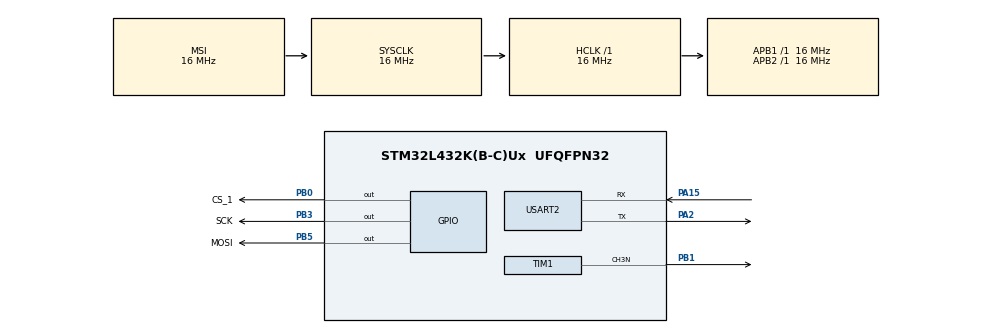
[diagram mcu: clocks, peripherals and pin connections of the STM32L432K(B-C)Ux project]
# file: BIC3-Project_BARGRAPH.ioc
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Mcu.Family=STM32L4
Mcu.Name=STM32L432K(B-C)Ux
Mcu.Package=UFQFPN32
NVIC.PriorityGroup=NVIC_PRIORITYGROUP_4
NVIC.USART2_IRQn=true\:0\:0\:false\:false\:true\:true\:true
PA15\ (JTDI).Mode=Asynchronous
PA15\ (JTDI).Signal=USART2_RX
PA2.Mode=Asynchronous
PA2.Signal=USART2_TX
PB0.GPIO_Label=CS_1
PB0.Signal=GPIO_Output
PB1.Mode=PWM Generation3 CH3N
PB1.Signal=TIM1_CH3N
PB3\ (JTDO-TRACESWO).GPIO_Label=SCK
PB3\ (JTDO-TRACESWO).Signal=GPIO_Output
PB5.GPIO_Label=MOSI
PB5.Signal=GPIO_Output
ProjectManager.HeapSize=0x200
ProjectManager.StackSize=0x400
ProjectManager.TargetToolchain=STM32CubeIDE
RCC.ADCFreq_Value=64000000
RCC.AHBFreq_Value=16000000
RCC.APB1Freq_Value=16000000
RCC.APB1TimFreq_Value=16000000
RCC.APB2Freq_Value=16000000
RCC.APB2TimFreq_Value=16000000
RCC.CortexFreq_Value=16000000
RCC.HCLKFreq_Value=16000000
RCC.HSE_VALUE=8000000
RCC.HSI48_VALUE=48000000
RCC.HSI_VALUE=16000000
RCC.LSE_VALUE=32768
RCC.MSIClockRange=RCC_MSIRANGE_8
RCC.MSI_VALUE=16000000
RCC.SYSCLKFreq_VALUE=16000000
RCC.USBFreq_Value=64000000
RCC.VCOOutputFreq_Value=128000000
TIM1.Channel-PWM\ Generation3\ CH3N=TIM_CHANNEL_3
TIM1.OCNPolarity_3=TIM_OCNPOLARITY_LOW
TIM1.Period=40000-1
TIM1.Prescaler=4-1
TIM1.Pulse-PWM\ Generation3\ CH3N=40000
TIM6.Prescaler=16-1
USART2.VirtualMode-Asynchronous=VM_ASYNC
VP_TIM6_VS_ClockSourceINT.Mode=Enable_Timer
board=custom

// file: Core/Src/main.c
/* USER CODE BEGIN Header */
/**
  ******************************************************************************
  * @file           : main.c
  * @brief          : Main program body
  ******************************************************************************
  * @attention
  *
  * <h2><center>&copy; Copyright (c) 2022 STMicroelectronics.
  * All rights reserved.</center></h2>
  *
  * This software component is licensed by ST under BSD 3-Clause license,
  * the "License"; You may not use this file except in compliance with the
  * License. You may obtain a copy of the License at:
  *                        opensource.org/licenses/BSD-3-Clause
  *
  ******************************************************************************
  */
/* USER CODE END Header */
#include "main.h"

/* USER CODE BEGIN Includes */
#include "mylibrary.h"
/* USER CODE END Includes */

/* USER CODE BEGIN PD */

//#define BRIGHTNESSTEST

#define RxBuffer_SIZE 1
/* USER CODE END PD */

TIM_HandleTypeDef htim1;
TIM_HandleTypeDef htim6;

UART_HandleTypeDef huart2;

/* USER CODE BEGIN PV */
MY_BARGRAPH_HandleTypeDef hbar1;

SERIALPROTOCOL_TypeDef hserialprot;

uint16_t last_volume=0;
uint16_t mute_volume=8;
uint16_t bargraph_volume=20;
uint8_t seperate = 0;
uint8_t bargraph_brightness=100;

// Deklarieren und initialisieren des Ein-Zeichen-Empfangsbuffers
uint8_t RxBuffer[RxBuffer_SIZE]={0};

/* USER CODE END PV */

void SystemClock_Config(void);
static void MX_GPIO_Init(void);
static void MX_TIM1_Init(void);
static void MX_USART2_UART_Init(void);
static void MX_TIM6_Init(void);

int main(void)
{

  /* MCU Configuration--------------------------------------------------------*/

  /* Reset of all peripherals, Initializes the Flash interface and the Systick. */
  HAL_Init();

  /* Configure the system clock */
  SystemClock_Config();

  /* Initialize all configured peripherals */
  MX_GPIO_Init();
  MX_TIM1_Init();
  MX_USART2_UART_Init();
  MX_TIM6_Init();
  /* USER CODE BEGIN 2 */
  HAL_UART_Receive_IT(&huart2, RxBuffer, RxBuffer_SIZE);

#ifndef BRIGHTNESSTEST
  MY_BARGRAPH_Init_Pulsed(&hbar1,&htim1,TIM_CHANNEL_3,MOSI_GPIO_Port, MOSI_Pin, SCK_GPIO_Port, SCK_Pin, CS_1_GPIO_Port, CS_1_Pin);
#endif
#ifdef BRIGHTNESSTEST
  MY_BARGRAPH_Init_Strobed(&hbar1,&htim6,MOSI_GPIO_Port, MOSI_Pin, SCK_GPIO_Port, SCK_Pin, CS_1_GPIO_Port, CS_1_Pin);

  uint16_t bargraph_bits=0b1100111111;
  uint8_t bargraph_brightness_collection[10]={1,11,22,33,44,55,66,77,88,99};
#endif

  /* Segmente aufgrund der Lautstärke ändern */
    uint16_t calculate_bargraph_bitframe(uint8_t pos){
  	uint16_t bitframe=0;
      for (uint8_t i=0;i<pos/8;i++){
      	bitframe |=(1<<(i));
      }
      return bitframe;
    }

  /* USER CODE END 2 */

  /* Infinite loop */
  /* USER CODE BEGIN WHILE */
  while (1)
  {

#ifndef BRIGHTNESSTEST
	/* kalkulierte Segmente des Bargraphen Ein- bzw. Ausschalten und die Helligkeit einstellen */
	MY_BARGRAPH_SET_BITS(&hbar1, calculate_bargraph_bitframe(bargraph_volume), bargraph_brightness);
#endif

#ifdef BRIGHTNESSTEST
	MY_BARGRAPH_SET_BITS(&hbar1, bargraph_bits, bargraph_brightness_collection);
#endif

    /* USER CODE END WHILE */

  }
}

void SystemClock_Config(void)
{
  RCC_OscInitTypeDef RCC_OscInitStruct = {0};
  RCC_ClkInitTypeDef RCC_ClkInitStruct = {0};

  /** Configure the main internal regulator output voltage
  */
  if (HAL_PWREx_ControlVoltageScaling(PWR_REGULATOR_VOLTAGE_SCALE1) != HAL_OK)
  {
    Error_Handler();
  }
  /** Initializes the RCC Oscillators according to the specified parameters
  * in the RCC_OscInitTypeDef structure.
  */
  RCC_OscInitStruct.OscillatorType = RCC_OSCILLATORTYPE_MSI;
  RCC_OscInitStruct.MSIState = RCC_MSI_ON;
  RCC_OscInitStruct.MSICalibrationValue = 0;
  RCC_OscInitStruct.MSIClockRange = RCC_MSIRANGE_8;
  RCC_OscInitStruct.PLL.PLLState = RCC_PLL_NONE;
  if (HAL_RCC_OscConfig(&RCC_OscInitStruct) != HAL_OK)
  {
    Error_Handler();
  }
  /** Initializes the CPU, AHB and APB buses clocks
  */
  RCC_ClkInitStruct.ClockType = RCC_CLOCKTYPE_HCLK|RCC_CLOCKTYPE_SYSCLK
                              |RCC_CLOCKTYPE_PCLK1|RCC_CLOCKTYPE_PCLK2;
  RCC_ClkInitStruct.SYSCLKSource = RCC_SYSCLKSOURCE_MSI;
  RCC_ClkInitStruct.AHBCLKDivider = RCC_SYSCLK_DIV1;
  RCC_ClkInitStruct.APB1CLKDivider = RCC_HCLK_DIV1;
  RCC_ClkInitStruct.APB2CLKDivider = RCC_HCLK_DIV1;

  if (HAL_RCC_ClockConfig(&RCC_ClkInitStruct, FLASH_LATENCY_0) != HAL_OK)
  {
    Error_Handler();
  }
}

static void MX_TIM1_Init(void)
{

  TIM_MasterConfigTypeDef sMasterConfig = {0};
  TIM_OC_InitTypeDef sConfigOC = {0};
  TIM_BreakDeadTimeConfigTypeDef sBreakDeadTimeConfig = {0};

  htim1.Instance = TIM1;
  htim1.Init.Prescaler = 4-1;
  htim1.Init.CounterMode = TIM_COUNTERMODE_UP;
  htim1.Init.Period = 40000-1;
  htim1.Init.ClockDivision = TIM_CLOCKDIVISION_DIV1;
  htim1.Init.RepetitionCounter = 0;
  htim1.Init.AutoReloadPreload = TIM_AUTORELOAD_PRELOAD_DISABLE;
  if (HAL_TIM_PWM_Init(&htim1) != HAL_OK)
  {
    Error_Handler();
  }
  sMasterConfig.MasterOutputTrigger = TIM_TRGO_RESET;
  sMasterConfig.MasterOutputTrigger2 = TIM_TRGO2_RESET;
  sMasterConfig.MasterSlaveMode = TIM_MASTERSLAVEMODE_DISABLE;
  if (HAL_TIMEx_MasterConfigSynchronization(&htim1, &sMasterConfig) != HAL_OK)
  {
    Error_Handler();
  }
  sConfigOC.OCMode = TIM_OCMODE_PWM1;
  sConfigOC.Pulse = 40000;
  sConfigOC.OCPolarity = TIM_OCPOLARITY_HIGH;
  sConfigOC.OCNPolarity = TIM_OCNPOLARITY_LOW;
  sConfigOC.OCFastMode = TIM_OCFAST_DISABLE;
  sConfigOC.OCIdleState = TIM_OCIDLESTATE_RESET;
  sConfigOC.OCNIdleState = TIM_OCNIDLESTATE_RESET;
  if (HAL_TIM_PWM_ConfigChannel(&htim1, &sConfigOC, TIM_CHANNEL_3) != HAL_OK)
  {
    Error_Handler();
  }
  sBreakDeadTimeConfig.OffStateRunMode = TIM_OSSR_DISABLE;
  sBreakDeadTimeConfig.OffStateIDLEMode = TIM_OSSI_DISABLE;
  sBreakDeadTimeConfig.LockLevel = TIM_LOCKLEVEL_OFF;
  sBreakDeadTimeConfig.DeadTime = 0;
  sBreakDeadTimeConfig.BreakState = TIM_BREAK_DISABLE;
  sBreakDeadTimeConfig.BreakPolarity = TIM_BREAKPOLARITY_HIGH;
  sBreakDeadTimeConfig.BreakFilter = 0;
  sBreakDeadTimeConfig.Break2State = TIM_BREAK2_DISABLE;
  sBreakDeadTimeConfig.Break2Polarity = TIM_BREAK2POLARITY_HIGH;
  sBreakDeadTimeConfig.Break2Filter = 0;
  sBreakDeadTimeConfig.AutomaticOutput = TIM_AUTOMATICOUTPUT_DISABLE;
  if (HAL_TIMEx_ConfigBreakDeadTime(&htim1, &sBreakDeadTimeConfig) != HAL_OK)
  {
    Error_Handler();
  }
  HAL_TIM_MspPostInit(&htim1);

}

static void MX_TIM6_Init(void)
{

  TIM_MasterConfigTypeDef sMasterConfig = {0};

  htim6.Instance = TIM6;
  htim6.Init.Prescaler = 16-1;
  htim6.Init.CounterMode = TIM_COUNTERMODE_UP;
  htim6.Init.Period = 65535;
  htim6.Init.AutoReloadPreload = TIM_AUTORELOAD_PRELOAD_DISABLE;
  if (HAL_TIM_Base_Init(&htim6) != HAL_OK)
  {
    Error_Handler();
  }
  sMasterConfig.MasterOutputTrigger = TIM_TRGO_RESET;
  sMasterConfig.MasterSlaveMode = TIM_MASTERSLAVEMODE_DISABLE;
  if (HAL_TIMEx_MasterConfigSynchronization(&htim6, &sMasterConfig) != HAL_OK)
  {
    Error_Handler();
  }

}

static void MX_USART2_UART_Init(void)
{

  huart2.Instance = USART2;
  huart2.Init.BaudRate = 115200;
  huart2.Init.WordLength = UART_WORDLENGTH_8B;
  huart2.Init.StopBits = UART_STOPBITS_1;
  huart2.Init.Parity = UART_PARITY_NONE;
  huart2.Init.Mode = UART_MODE_TX_RX;
  huart2.Init.HwFlowCtl = UART_HWCONTROL_NONE;
  huart2.Init.OverSampling = UART_OVERSAMPLING_16;
  huart2.Init.OneBitSampling = UART_ONE_BIT_SAMPLE_DISABLE;
  huart2.AdvancedInit.AdvFeatureInit = UART_ADVFEATURE_NO_INIT;
  if (HAL_UART_Init(&huart2) != HAL_OK)
  {
    Error_Handler();
  }

}

static void MX_GPIO_Init(void)
{
  GPIO_InitTypeDef GPIO_InitStruct = {0};

  /* GPIO Ports Clock Enable */
  __HAL_RCC_GPIOA_CLK_ENABLE();
  __HAL_RCC_GPIOB_CLK_ENABLE();

  /*Configure GPIO pin Output Level */
  HAL_GPIO_WritePin(GPIOB, CS_1_Pin|SCK_Pin|MOSI_Pin, GPIO_PIN_RESET);

  /*Configure GPIO pins : CS_1_Pin SCK_Pin MOSI_Pin */
  GPIO_InitStruct.Pin = CS_1_Pin|SCK_Pin|MOSI_Pin;
  GPIO_InitStruct.Mode = GPIO_MODE_OUTPUT_PP;
  GPIO_InitStruct.Pull = GPIO_NOPULL;
  GPIO_InitStruct.Speed = GPIO_SPEED_FREQ_LOW;
  HAL_GPIO_Init(GPIOB, &GPIO_InitStruct);

}

/* USER CODE BEGIN 4 */

/* UART-Callback wird nach jedem Zeichen aufgerufen */
void HAL_UART_RxCpltCallback(UART_HandleTypeDef *huart)
{
	/* Nachrichtenbuffer für die Konsolen-Nachricht */
	uint8_t exchangedMessage[55] ={0};

	/*
	 * MYLIB_SERIALPROT_XCHANGE -> Verarbeitet die eingegebenen Zeichen des UART und gibt das demenstspechende Ergebnis/Nachricht zurück
	 * hserialprot -> Objekt des Seriellen Protokolls
	 * RxBuffer -> Ein-Zeichen-Empfangspuffer
	 * exchangedMessage -> zurückgegebene Nachricht aufgrund der Eingaben von Rx bzw. auf der Konsole
	 * Die Verarbeitung erfolgt in der MyLibrary/mylib_serialprot-Bibliothek
	 */
	MYLIB_SERIALPROT_XCHANGE(&hserialprot,RxBuffer,exchangedMessage);

	/* exchangedMessage an Putty/Konsole senden */
	if(HAL_UART_Transmit(&huart2, exchangedMessage,(uint16_t)strlen(exchangedMessage), 100)!= HAL_OK){Error_Handler();}

	/* UART_Receive Interrupt aktivieren */
	if(HAL_UART_Receive_IT(&huart2, RxBuffer, RxBuffer_SIZE)!= HAL_OK){Error_Handler();}
}

/* Callback für CBG-Commands (Bargraph-Get), welche der User selbst definieren kann */
uint16_t SERIALPROT_Command_CBG_Callback(SERIALPROTOCOL_TypeDef *hserialprot)
{
	/* Prüfen ob das Kommando "cbg" mit dem Parameter 1 "vol" eingegeben wurde und danach die Lautstärke zurückgeben */
	if(__SERIALPROT_IS_PARAMETER1(hserialprot,"vol")){
		return bargraph_volume;

	/* Prüfen ob das Kommando "cbg" mit dem Parameter 1 "bgn" eingegeben wurde und danach die Helligkeit zurückgeben */
	}else if(__SERIALPROT_IS_PARAMETER1(hserialprot,"bgn")){
		return bargraph_brightness;
	}else if(__SERIALPROT_IS_PARAMETER1(hserialprot,"mva")){
		return mute_volume;
	/* Prüfen ob das Kommando "crg" mit dem Parameter 1 "sep" eingegeben wurde und danach den Status zurückgeben ob die Module getrennt sind */
	}else if(__SERIALPROT_IS_PARAMETER1(hserialprot,"sep")){
		return seperate;
	}
	return 0;

}

/* Callback für CBS-Commands (Bargraph-Set), welche der User selbst definieren kann */
uint8_t SERIALPROT_Command_CBS_Callback(SERIALPROTOCOL_TypeDef *hserialprot)
{

	/* Prüfen ob das Kommando "cbs" mit dem Parameter 1 "vol" eingegeben wurde und danach die Lautstärke nach Parameter 2 ändern */
	if(__SERIALPROT_IS_PARAMETER1(hserialprot,"vol")){
		bargraph_volume=atoi(hserialprot->Parameter2);
		last_volume=bargraph_volume;
		return 0;
	/* Prüfen ob das Kommando "cbs" mit dem Parameter 1 "vol" eingegeben wurde und danach die Helligkeit nach Parameter 2 ändern */
	}else if(__SERIALPROT_IS_PARAMETER1(hserialprot,"bgn")){
		bargraph_brightness=atoi(hserialprot->Parameter2);
		return 0;
	/* Prüfen ob das Kommando "cbs" mit dem Parameter 1 "mva" eingegeben wurde und danach die Mute-Lautstärke nach Parameter 2 ändern */
	}else if(__SERIALPROT_IS_PARAMETER1(hserialprot,"mva")){
		mute_volume=atoi(hserialprot->Parameter2);
		return 0;
	/* Prüfen ob das Kommando "cbs" mit dem Parameter 1 "sep" eingegeben wurde und je nach Parameter 2 (0=nicht koppeln/1=koppeln) die Module koppeln oder nicht koppeln */
	}else if(__SERIALPROT_IS_PARAMETER1(hserialprot,"sep")){
		if(__SERIALPROT_IS_PARAMETER2(hserialprot,"1")){
			seperate=1;
		}else if(__SERIALPROT_IS_PARAMETER2(hserialprot,"0")){
			seperate=0;
		}
		return 0;
	/* Prüfen ob das Kommando "cbs" mit dem Parameter 1 "vmx" eingegeben wurde und danacf die Maximal-Lautstärke einstellenn */
	}else if(__SERIALPROT_IS_PARAMETER1(hserialprot,"vmx")){
		bargraph_volume=87;
		last_volume=bargraph_volume;
		return 0;
	/* Prüfen ob das Kommando "cbs" mit dem Parameter 1 "mte" eingegeben wurde und je nach Parameter 2 (0=Aus/1=Ein) auf Mute-Lautstärke einstellen */
	}else if(__SERIALPROT_IS_PARAMETER1(hserialprot,"mte")){
		if(__SERIALPROT_IS_PARAMETER2(hserialprot,"1")){
			last_volume=bargraph_volume;
			bargraph_volume=mute_volume;
		}else if(__SERIALPROT_IS_PARAMETER2(hserialprot,"0")){
			bargraph_volume=last_volume;
		}
		return 0;
	}
	return 1;
}
/* USER CODE END 4 */

void Error_Handler(void)
{
  __disable_irq();
  while (1)
  {
  }
}

/************************ (C) COPYRIGHT STMicroelectronics *****END OF FILE****/
